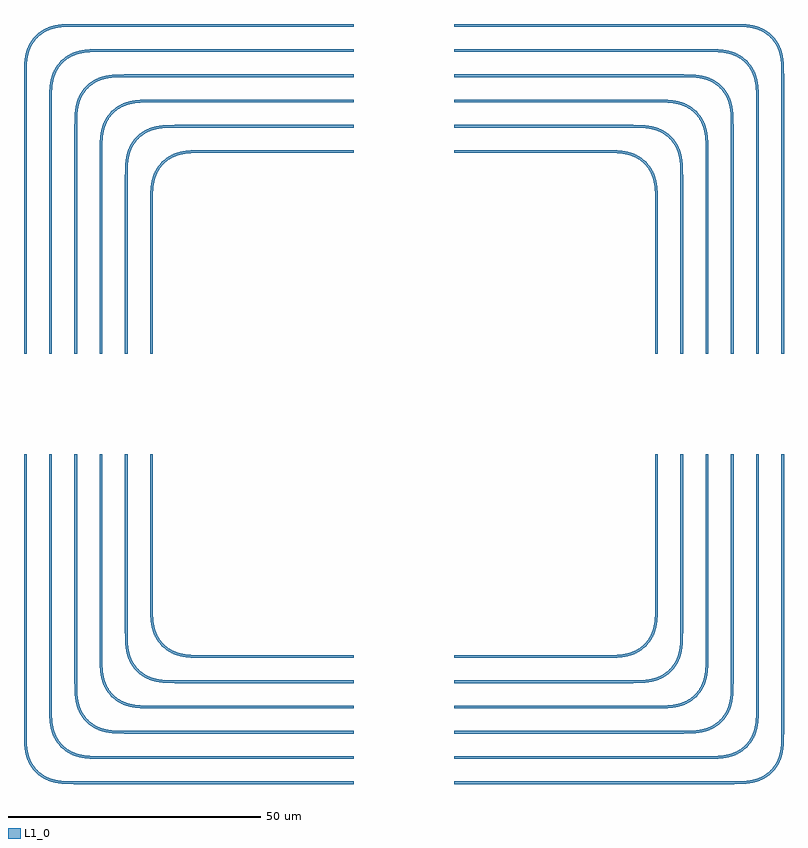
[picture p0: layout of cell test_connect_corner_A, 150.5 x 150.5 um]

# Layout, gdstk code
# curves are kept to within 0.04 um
from math import pi, radians
import gdstk
lib = gdstk.Library(unit=1e-6, precision=1e-09)
def R(c, l, rs):  # rectangles x0, y0, x1, y1
    for r in rs: c.add(gdstk.rectangle(r[:2], r[2:], *l))
def P(c, l, *ps):  # polygons
    for p in ps: c.add(gdstk.Polygon(p, *l))
L1_0 = (1, 0)

bend_euler_gdsfactorypco = lib.new_cell('bend_euler_gdsfactorypcomponentspbendspbend_euler_R10_A_335c8724')
P(bend_euler_gdsfactorypco, L1_0, [(0,-0.25),(0,0.25),(1.655,0.269),(2.881,0.353),(3.952,0.52),(4.99,0.806),(5.731,1.113),(6.431,1.505),(7.575,2.425),(8.495,3.569),(8.887,4.269),(9.194,5.01),(9.48,6.048),(9.647,7.119),(9.731,8.345),(9.75,10),(10.25,10),(10.158,7.205),(10.023,6.224),(9.797,5.254),(9.457,4.312),(9.066,3.545),(8.5,2.715),(7.928,2.072),(7.285,1.5),(6.455,0.934),(5.688,0.543),(4.746,0.203),(3.776,-0.023),(2.795,-0.158)])

straight_gdsfactorypcomp = lib.new_cell('straight_gdsfactorypcomponentspwaveguidespstraight_L30__23ab0482')
R(straight_gdsfactorypcomp, L1_0, [(0,-0.25,30,0.25)])

c_straight_gdsfactorypcomp = lib.new_cell('straight_gdsfactorypcomponentspwaveguidespstraight_L35__eb80218d')
R(c_straight_gdsfactorypcomp, L1_0, [(0,-0.25,35,0.25)])

c_straight_gdsfactorypcomp_ = lib.new_cell('straight_gdsfactorypcomponentspwaveguidespstraight_L40__6a25f6ed')
R(c_straight_gdsfactorypcomp_, L1_0, [(0,-0.25,40,0.25)])

c_straight_gdsfactorypcomp__ = lib.new_cell('straight_gdsfactorypcomponentspwaveguidespstraight_L45__b895575d')
R(c_straight_gdsfactorypcomp__, L1_0, [(0,-0.25,45,0.25)])

c_straight_gdsfactorypcomp___ = lib.new_cell('straight_gdsfactorypcomponentspwaveguidespstraight_L50__781350fa')
R(c_straight_gdsfactorypcomp___, L1_0, [(0,-0.25,50,0.25)])

c_straight_gdsfactorypcomp____ = lib.new_cell('straight_gdsfactorypcomponentspwaveguidespstraight_L55__ce568513')
R(c_straight_gdsfactorypcomp____, L1_0, [(0,-0.25,55,0.25)])

test_connect_corner_a = lib.new_cell('test_connect_corner_A')
test_connect_corner_a.add(gdstk.Reference(bend_euler_gdsfactorypco, (50,40), rotation=pi/2))
test_connect_corner_a.add(gdstk.Reference(straight_gdsfactorypcomp, (10,50)))
test_connect_corner_a.add(gdstk.Reference(straight_gdsfactorypcomp, (50,40), rotation=3*pi/2))
test_connect_corner_a.add(gdstk.Reference(bend_euler_gdsfactorypco, (55,45), rotation=pi/2))
test_connect_corner_a.add(gdstk.Reference(c_straight_gdsfactorypcomp, (10,55)))
test_connect_corner_a.add(gdstk.Reference(c_straight_gdsfactorypcomp, (55,45), rotation=3*pi/2))
test_connect_corner_a.add(gdstk.Reference(bend_euler_gdsfactorypco, (60,50), rotation=pi/2))
test_connect_corner_a.add(gdstk.Reference(c_straight_gdsfactorypcomp_, (10,60)))
test_connect_corner_a.add(gdstk.Reference(c_straight_gdsfactorypcomp_, (60,50), rotation=3*pi/2))
test_connect_corner_a.add(gdstk.Reference(bend_euler_gdsfactorypco, (65,55), rotation=pi/2))
test_connect_corner_a.add(gdstk.Reference(c_straight_gdsfactorypcomp__, (10,65)))
test_connect_corner_a.add(gdstk.Reference(c_straight_gdsfactorypcomp__, (65,55), rotation=3*pi/2))
test_connect_corner_a.add(gdstk.Reference(bend_euler_gdsfactorypco, (70,60), rotation=pi/2))
test_connect_corner_a.add(gdstk.Reference(c_straight_gdsfactorypcomp___, (10,70)))
test_connect_corner_a.add(gdstk.Reference(c_straight_gdsfactorypcomp___, (70,60), rotation=3*pi/2))
test_connect_corner_a.add(gdstk.Reference(bend_euler_gdsfactorypco, (75,65), rotation=pi/2))
test_connect_corner_a.add(gdstk.Reference(c_straight_gdsfactorypcomp____, (10,75)))
test_connect_corner_a.add(gdstk.Reference(c_straight_gdsfactorypcomp____, (75,65), rotation=3*pi/2))
test_connect_corner_a.add(gdstk.Reference(bend_euler_gdsfactorypco, (-50,40), rotation=pi/2, x_reflection=True))
test_connect_corner_a.add(gdstk.Reference(straight_gdsfactorypcomp, (-10,50), rotation=pi))
test_connect_corner_a.add(gdstk.Reference(straight_gdsfactorypcomp, (-50,40), rotation=3*pi/2))
test_connect_corner_a.add(gdstk.Reference(bend_euler_gdsfactorypco, (-55,45), rotation=pi/2, x_reflection=True))
test_connect_corner_a.add(gdstk.Reference(c_straight_gdsfactorypcomp, (-10,55), rotation=pi))
test_connect_corner_a.add(gdstk.Reference(c_straight_gdsfactorypcomp, (-55,45), rotation=3*pi/2))
test_connect_corner_a.add(gdstk.Reference(bend_euler_gdsfactorypco, (-60,50), rotation=pi/2, x_reflection=True))
test_connect_corner_a.add(gdstk.Reference(c_straight_gdsfactorypcomp_, (-10,60), rotation=pi))
test_connect_corner_a.add(gdstk.Reference(c_straight_gdsfactorypcomp_, (-60,50), rotation=3*pi/2))
test_connect_corner_a.add(gdstk.Reference(bend_euler_gdsfactorypco, (-65,55), rotation=pi/2, x_reflection=True))
test_connect_corner_a.add(gdstk.Reference(c_straight_gdsfactorypcomp__, (-10,65), rotation=pi))
test_connect_corner_a.add(gdstk.Reference(c_straight_gdsfactorypcomp__, (-65,55), rotation=3*pi/2))
test_connect_corner_a.add(gdstk.Reference(bend_euler_gdsfactorypco, (-70,60), rotation=pi/2, x_reflection=True))
test_connect_corner_a.add(gdstk.Reference(c_straight_gdsfactorypcomp___, (-10,70), rotation=pi))
test_connect_corner_a.add(gdstk.Reference(c_straight_gdsfactorypcomp___, (-70,60), rotation=3*pi/2))
test_connect_corner_a.add(gdstk.Reference(bend_euler_gdsfactorypco, (-75,65), rotation=pi/2, x_reflection=True))
test_connect_corner_a.add(gdstk.Reference(c_straight_gdsfactorypcomp____, (-10,75), rotation=pi))
test_connect_corner_a.add(gdstk.Reference(c_straight_gdsfactorypcomp____, (-75,65), rotation=3*pi/2))
test_connect_corner_a.add(gdstk.Reference(bend_euler_gdsfactorypco, (50,-40), rotation=3*pi/2, x_reflection=True))
test_connect_corner_a.add(gdstk.Reference(straight_gdsfactorypcomp, (10,-50)))
test_connect_corner_a.add(gdstk.Reference(straight_gdsfactorypcomp, (50,-40), rotation=pi/2))
test_connect_corner_a.add(gdstk.Reference(bend_euler_gdsfactorypco, (55,-45), rotation=3*pi/2, x_reflection=True))
test_connect_corner_a.add(gdstk.Reference(c_straight_gdsfactorypcomp, (10,-55)))
test_connect_corner_a.add(gdstk.Reference(c_straight_gdsfactorypcomp, (55,-45), rotation=pi/2))
test_connect_corner_a.add(gdstk.Reference(bend_euler_gdsfactorypco, (60,-50), rotation=3*pi/2, x_reflection=True))
test_connect_corner_a.add(gdstk.Reference(c_straight_gdsfactorypcomp_, (10,-60)))
test_connect_corner_a.add(gdstk.Reference(c_straight_gdsfactorypcomp_, (60,-50), rotation=pi/2))
test_connect_corner_a.add(gdstk.Reference(bend_euler_gdsfactorypco, (65,-55), rotation=3*pi/2, x_reflection=True))
test_connect_corner_a.add(gdstk.Reference(c_straight_gdsfactorypcomp__, (10,-65)))
test_connect_corner_a.add(gdstk.Reference(c_straight_gdsfactorypcomp__, (65,-55), rotation=pi/2))
test_connect_corner_a.add(gdstk.Reference(bend_euler_gdsfactorypco, (70,-60), rotation=3*pi/2, x_reflection=True))
test_connect_corner_a.add(gdstk.Reference(c_straight_gdsfactorypcomp___, (10,-70)))
test_connect_corner_a.add(gdstk.Reference(c_straight_gdsfactorypcomp___, (70,-60), rotation=pi/2))
test_connect_corner_a.add(gdstk.Reference(bend_euler_gdsfactorypco, (75,-65), rotation=3*pi/2, x_reflection=True))
test_connect_corner_a.add(gdstk.Reference(c_straight_gdsfactorypcomp____, (10,-75)))
test_connect_corner_a.add(gdstk.Reference(c_straight_gdsfactorypcomp____, (75,-65), rotation=pi/2))
test_connect_corner_a.add(gdstk.Reference(bend_euler_gdsfactorypco, (-50,-40), rotation=3*pi/2))
test_connect_corner_a.add(gdstk.Reference(straight_gdsfactorypcomp, (-10,-50), rotation=pi))
test_connect_corner_a.add(gdstk.Reference(straight_gdsfactorypcomp, (-50,-40), rotation=pi/2))
test_connect_corner_a.add(gdstk.Reference(bend_euler_gdsfactorypco, (-55,-45), rotation=3*pi/2))
test_connect_corner_a.add(gdstk.Reference(c_straight_gdsfactorypcomp, (-10,-55), rotation=pi))
test_connect_corner_a.add(gdstk.Reference(c_straight_gdsfactorypcomp, (-55,-45), rotation=pi/2))
test_connect_corner_a.add(gdstk.Reference(bend_euler_gdsfactorypco, (-60,-50), rotation=3*pi/2))
test_connect_corner_a.add(gdstk.Reference(c_straight_gdsfactorypcomp_, (-10,-60), rotation=pi))
test_connect_corner_a.add(gdstk.Reference(c_straight_gdsfactorypcomp_, (-60,-50), rotation=pi/2))
test_connect_corner_a.add(gdstk.Reference(bend_euler_gdsfactorypco, (-65,-55), rotation=3*pi/2))
test_connect_corner_a.add(gdstk.Reference(c_straight_gdsfactorypcomp__, (-10,-65), rotation=pi))
test_connect_corner_a.add(gdstk.Reference(c_straight_gdsfactorypcomp__, (-65,-55), rotation=pi/2))
test_connect_corner_a.add(gdstk.Reference(bend_euler_gdsfactorypco, (-70,-60), rotation=3*pi/2))
test_connect_corner_a.add(gdstk.Reference(c_straight_gdsfactorypcomp___, (-10,-70), rotation=pi))
test_connect_corner_a.add(gdstk.Reference(c_straight_gdsfactorypcomp___, (-70,-60), rotation=pi/2))
test_connect_corner_a.add(gdstk.Reference(bend_euler_gdsfactorypco, (-75,-65), rotation=3*pi/2))
test_connect_corner_a.add(gdstk.Reference(c_straight_gdsfactorypcomp____, (-10,-75), rotation=pi))
test_connect_corner_a.add(gdstk.Reference(c_straight_gdsfactorypcomp____, (-75,-65), rotation=pi/2))

lib.write_gds('test_connect_corner_A.gds')
